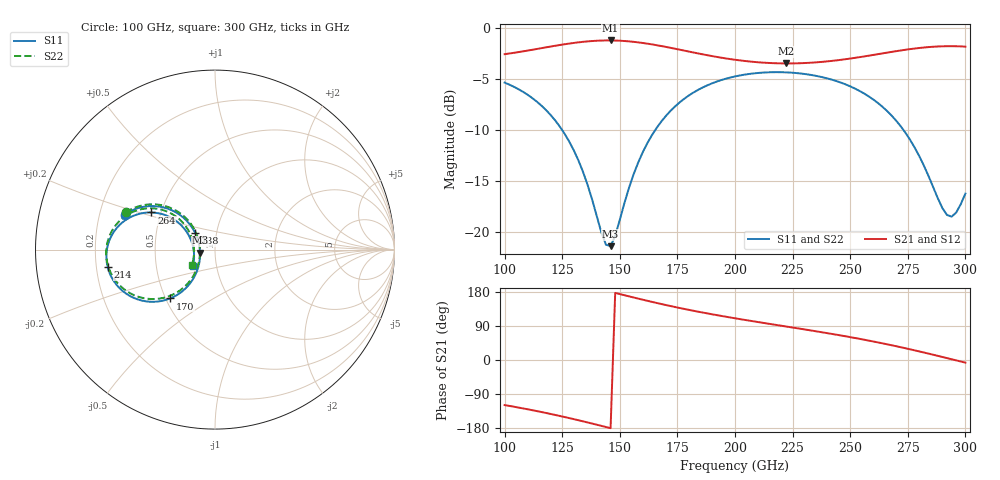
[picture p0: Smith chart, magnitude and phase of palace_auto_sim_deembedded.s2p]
! Created with skrf 1.11.0 (http://scikit-rf.org).
# GHz S DB R 50.0
!freq dBS11 angS11 dBS21 angS21 dBS12 angS12 dBS22 angS22
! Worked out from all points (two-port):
!   101 points, 100 GHz to 300 GHz, reference 50 ohm
!   highest |S21| = -1.22 dB at 146 GHz (marker M1); lowest = -3.5 dB at 222 GHz (marker M2)
!   |S21| within 3 dB of the highest: start of sweep to end of sweep
!   lowest |S11| = -21.4 dB at 146 GHz (marker M3), VSWR 1.19, Z = 42.3 - j1.44 ohm
!   |S11| at or under -10 dB: 124.9 GHz to 165.4 GHz (40.54 GHz wide, 27.9 % of centre); 273 GHz to end of sweep
!   |S22| runs from -21.4 to -4.3 dB; largest |S21 - S12| = 7.4e-16
!   S11 on the Smith chart (normalised r, x): 100 GHz: 0.31, +0.17; 138 GHz: 0.79, +0.15; 170 GHz: 0.53, -0.33; 214 GHz: 0.25, -0.08; 264 GHz: 0.44, +0.22; 300 GHz: 0.77, -0.15
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100  -5.36 158.8  -2.57 -118.9  -2.57 -118.9  -5.36 157.4
120  -8.55 140.9  -1.82 -142.4  -1.82 -142.4  -8.55 139.2
128  -11.14 135.4  -1.53 -153.2  -1.53 -153.2  -11.14 133.6
134  -14.11 135.0  -1.36 -161.8  -1.36 -161.8  -14.11 133.1
138  -16.86 140.0  -1.28 -167.7  -1.28 -167.7  -16.86 138.1
144  -21.29 172.4  -1.22 -176.8  -1.22 -176.8  -21.29 170.4
146  -21.43 -168.5  -1.22 -179.9  -1.22 -179.9  -21.43 -170.5
158  -13.20 -126.4  -1.41 162.0  -1.41 162.0  -13.20 -128.7
168  -9.19 -131.0  -1.77 147.8  -1.77 147.8  -9.19 -133.4
170  -8.64 -132.6  -1.86 145.1  -1.86 145.1  -8.64 -135.0
184  -6.07 -145.2  -2.50 127.5  -2.50 127.5  -6.08 -147.8
200  -4.75 -159.2  -3.12 110.1  -3.12 110.1  -4.76 -162.0
214  -4.35 -170.7  -3.42 96.3  -3.42 96.3  -4.36 -173.7
222  -4.35 -177.1  -3.48 88.6  -3.48 88.6  -4.36 179.8
234  -4.65 173.5  -3.39 76.9  -3.39 76.9  -4.65 170.2
250  -5.73 160.6  -3.00 60.4  -3.00 60.4  -5.74 157.1
264  -7.73 149.7  -2.49 44.0  -2.49 44.0  -7.75 145.9
268  -8.61 147.0  -2.34 38.9  -2.34 38.9  -8.62 143.2
278  -11.75 143.6  -2.01 25.4  -2.01 25.4  -11.77 139.5
292  -18.36 176.4  -1.78 5.0  -1.78 5.0  -18.45 172.2
296  -18.13 -159.8  -1.79 -1.0  -1.79 -1.0  -18.22 -163.8
300  -16.26 -142.9  -1.83 -6.9  -1.83 -6.9  -16.32 -146.8
